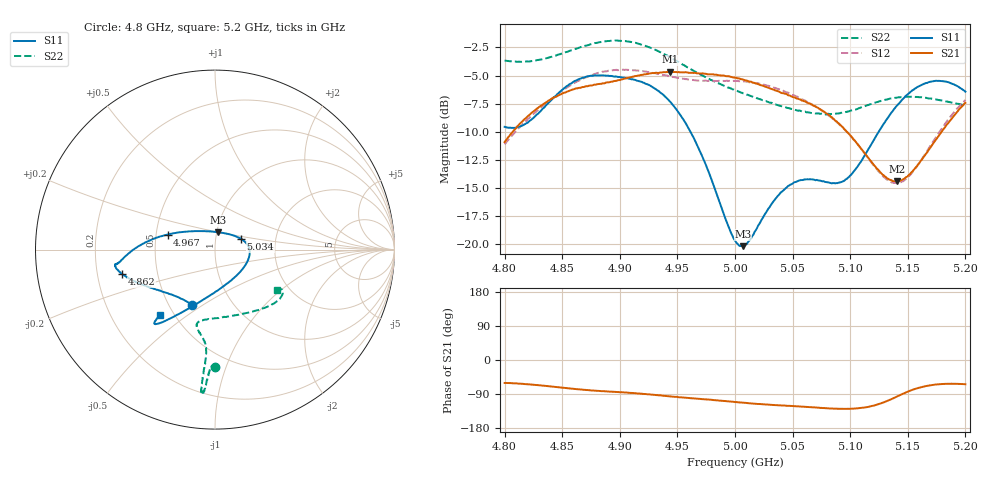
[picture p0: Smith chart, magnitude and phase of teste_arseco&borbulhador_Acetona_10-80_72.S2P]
! Network Analyzer HP8722D
! Hewlett-Packard
! Data name: Linha & Wilkinson
! Saver's name: Rodrigo Anjos
! Comments: Teste da utilização de aquisição
! continua pelo VNA HP8722D
! Time and date: 17/4/2025 14:57
!  Frequency  S11  S21  S12  S22
# HZ  S  MA R 50
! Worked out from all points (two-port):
!   401 points, 4.8 GHz to 5.2 GHz, reference 50 ohm
!   highest |S21| = -4.66 dB at 4.944 GHz (marker M1); lowest = -14.4 dB at 5.141 GHz (marker M2)
!   |S21| within 3 dB of the highest: 4.832 GHz to 5.068 GHz (236.1 MHz wide, 4.77 % of centre); 5.197825 GHz to end of sweep
!   lowest |S11| = -20.2 dB at 5.007 GHz (marker M3), VSWR 1.22, Z = 50.8 + j9.91 ohm
!   |S11| at or under -10 dB: 4.961 GHz to 5.125 GHz (163.2 MHz wide, 3.24 % of centre)
!   |S22| runs from -8.5 to -1.9 dB; largest |S21 - S12| = 0.88
!   S11 on the Smith chart (normalised r, x): 4.8 GHz: 0.65, -0.45; 4.862 GHz: 0.31, -0.12; 4.967 GHz: 0.57, +0.10; 5.034 GHz: 1.33, +0.16; 5.2 GHz: 0.42, -0.40
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4.8e9  0.3329 -112.9  0.2848 -60.6  0.2785 -174.8  0.6558 -89.8
4.819e9  0.3455 -132.8  0.3665 -63.6  0.3548 -173.2  0.6506 -91.4
4.862e9  0.5349 -165.2  0.4939 -76.8  0.5268 -176.4  0.7404 -93.7
4.867e9  0.548 -167.2  0.4994 -78.3  0.5416 -177.4  0.7556 -93.8
4.899e9  0.5545 -171.8  0.5373 -84.9  0.595 175.8  0.8036 -95.0
4.934e9  0.479 -177.8  0.5783 -93.2  0.5721 172.1  0.7192 -95.6
4.944e9  0.4291 177.7  0.5847 -96.1  0.558 172.3  0.6776 -95.2
4.967e9  0.2776 162.4  0.5753 -102.0  0.5345 174.1  0.5785 -94.8
5e9  0.1042 103.8  0.551 -111.0  0.5333 176.3  0.4838 -99.1
5.007e9  0.09819 79.5  0.5402 -112.5  0.5287 176.4  0.4693 -100.6
5.014e9  0.1064 57.9  0.5287 -114.6  0.5252 176.1  0.4558 -102.2
5.034e9  0.1567 22.6  0.4864 -118.9  0.4965 175.2  0.4199 -103.4
5.05e9  0.1862 5.9  0.4524 -121.8  0.4612 174.3  0.3996 -99.7
5.067e9  0.1945 -12.2  0.4176 -124.6  0.4184 174.0  0.3833 -91.2
5.086e9  0.1872 -42.2  0.3599 -128.4  0.3568 173.9  0.3805 -76.8
5.097e9  0.1954 -64.9  0.3168 -128.9  0.3167 174.4  0.3883 -67.6
5.134e9  0.3739 -115.7  0.1939 -105.6  0.1911 -158.5  0.4435 -42.9
5.141e9  0.4156 -119.7  0.1904 -95.7  0.1874 -147.5  0.4495 -39.9
5.152e9  0.4738 -124.2  0.2057 -81.1  0.2032 -130.4  0.453 -35.9
5.17e9  0.5287 -128.3  0.2708 -66.5  0.2765 -112.7  0.4449 -31.8
5.184e9  0.5273 -129.7  0.3415 -62.8  0.353 -107.1  0.4314 -30.8
5.2e9  0.4771 -130.1  0.4255 -64.1  0.4382 -106.1  0.4145 -33.1
